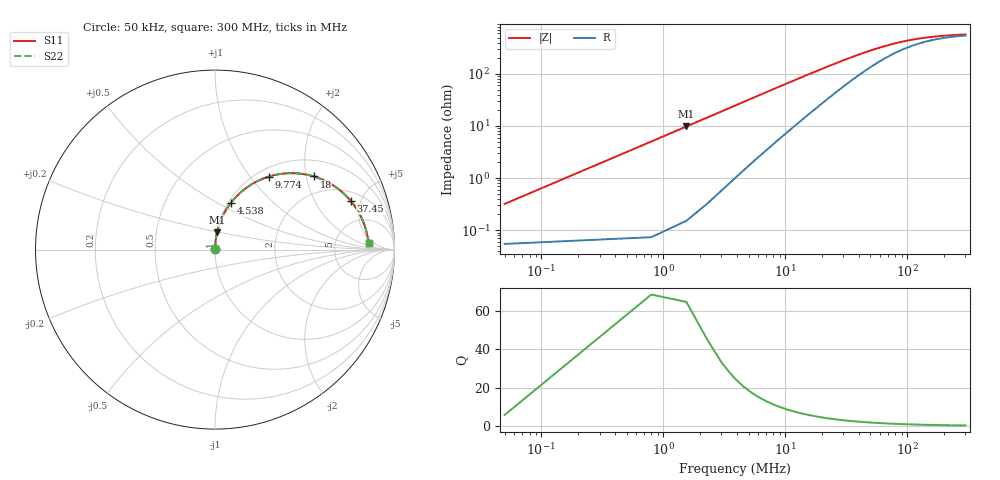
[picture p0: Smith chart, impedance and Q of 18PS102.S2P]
! Coilcraft 1812PS-102 Power Chip Inductor
! 1 October 2002
# MHZ S MA R 50
!Freq  MagS11  AngS11  MagS21  AngS21  MagS12  AngS12  MagS22  AngS22
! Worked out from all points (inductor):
!   403 points, 50 kHz to 300 MHz, reference 50 ohm
!   read as one part in series: L = 1.01 uH near 1.546 MHz
!   highest Q = 25.3 at 1.546 MHz (marker M1), where L = 1.01 uH
!   S11 on the Smith chart (normalised r, x): 50 kHz: 1.00, +0.01; 4.538 MHz: 1.03, +0.58; 9.774 MHz: 1.13, +1.24; 18 MHz: 1.44, +2.22; 37.45 MHz: 2.69, +4.11; 300 MHz: 12, +3
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0.05  0.003187 80.0  0.9995 -0.2  0.9995 -0.2  0.003187 80.0
0.798  0.05019 86.3  0.998 -2.9  0.998 -2.9  0.05019 86.3
1.546  0.09729 83.5  0.9938 -5.6  0.9938 -5.6  0.09729 83.5
2.294  0.1438 80.5  0.9864 -8.3  0.9864 -8.3  0.1438 80.5
3.042  0.1892 77.3  0.9762 -10.9  0.9762 -10.9  0.1892 77.3
3.79  0.2329 74.3  0.9634 -13.5  0.9634 -13.5  0.2329 74.3
4.538  0.2747 71.3  0.9483 -15.9  0.9483 -15.9  0.2747 71.3
5.286  0.3144 68.4  0.9315 -18.3  0.9315 -18.3  0.3144 68.4
6.782  0.3869 63.0  0.8937 -22.7  0.8937 -22.7  0.3869 63.0
9.774  0.5045 53.7  0.8105 -30.1  0.8105 -30.1  0.5045 53.7
13.514  0.6073 44.5  0.7092 -36.9  0.7092 -36.9  0.6073 44.5
18.002  0.6855 36.5  0.6059 -42.2  0.6059 -42.2  0.6855 36.5
21.742  0.7273 31.5  0.5368 -45.0  0.5368 -45.0  0.7273 31.5
26.23  0.7607 26.9  0.471 -46.9  0.471 -46.9  0.7607 26.9
37.45  0.8044 19.6  0.3623 -48.1  0.3623 -48.1  0.8044 19.6
50.166  0.8257 14.9  0.2928 -46.4  0.2928 -46.4  0.8257 14.9
72.606  0.841 10.4  0.2301 -41.3  0.2301 -41.3  0.841 10.4
100.282  0.8481 7.6  0.1947 -35.1  0.1947 -35.1  0.8481 7.6
150.398  0.8528 5.1  0.1684 -26.6  0.1684 -26.6  0.8528 5.1
200.514  0.8546 3.8  0.1579 -21.1  0.1579 -21.1  0.8546 3.8
250.63  0.8555 3.1  0.1526 -17.4  0.1526 -17.4  0.8555 3.1
300  0.8561 2.6  0.1497 -14.7  0.1497 -14.7  0.8561 2.6
